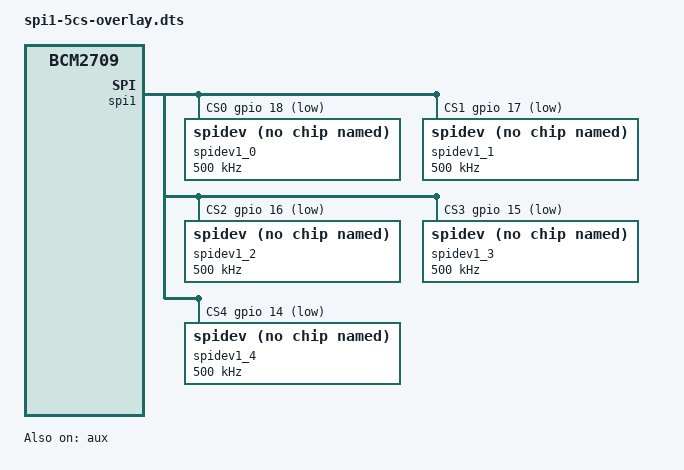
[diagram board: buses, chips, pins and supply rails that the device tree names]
/dts-v1/;
/plugin/;


/ {
	compatible = "brcm,bcm2835", "brcm,bcm2708", "brcm,bcm2709";

	fragment@0 {
		target = <&gpio>;
		__overlay__ {
			spi1_pins: spi1_pins {
				brcm,pins = <19 20 21>;
				brcm,function = <3>; /* alt4 */
			};

			spi1_cs_pins: spi1_cs_pins {
				brcm,pins = <18 17 16 15 14 13>;
				brcm,function = <1>; /* output */
			};
		};
	};

	fragment@1 {
		target = <&spi1>;
		frag1: __overlay__ {
			/* needed to avoid dtc warning */
			#address-cells = <1>;
			#size-cells = <0>;
			pinctrl-names = "default";
			pinctrl-0 = <&spi1_pins &spi1_cs_pins>;
			cs-gpios = <&gpio 18 1>, <&gpio 17 1>, <&gpio 16 1>, <&gpio 15 1>, <&gpio 14 1>, <&gpio 13 1>;
			status = "okay";

			spidev1_0: spidev@0 {
				compatible = "spidev";
				reg = <0>;      /* CE0 */
				#address-cells = <1>;
				#size-cells = <0>;
				spi-max-frequency = <500000>;
				status = "okay";
			};

			spidev1_1: spidev@1 {
				compatible = "spidev";
				reg = <1>;      /* CE1 */
				#address-cells = <1>;
				#size-cells = <0>;
				spi-max-frequency = <500000>;
				status = "okay";
			};

			spidev1_2: spidev@2 {
				compatible = "spidev";
				reg = <2>;      /* CE2 */
				#address-cells = <1>;
				#size-cells = <0>;
				spi-max-frequency = <500000>;
				status = "okay";
			};
			
			spidev1_3: spidev@3 {
				compatible = "spidev";
				reg = <3>;      /* CE3 */
				#address-cells = <1>;
				#size-cells = <0>;
				spi-max-frequency = <500000>;
				status = "okay";
			};

			spidev1_4: spidev@4 {
				compatible = "spidev";
				reg = <4>;      /* CE4 */
				#address-cells = <1>;
				#size-cells = <0>;
				spi-max-frequency = <500000>;
				status = "okay";
			};
		};
	};

	fragment@2 {
		target = <&aux>;
		__overlay__ {
			status = "okay";
		};
	};

	__overrides__ {
		cs0_pin  = <&spi1_cs_pins>,"brcm,pins:0",
			   <&frag1>,"cs-gpios:4";
		cs1_pin  = <&spi1_cs_pins>,"brcm,pins:4",
			   <&frag1>,"cs-gpios:16";
		cs2_pin  = <&spi1_cs_pins>,"brcm,pins:8",
			   <&frag1>,"cs-gpios:28";
		cs3_pin  = <&spi1_cs_pins>,"brcm,pins:12",
			   <&frag1>,"cs-gpios:40";
		cs4_pin  = <&spi1_cs_pins>,"brcm,pins:16",
			   <&frag1>,"cs-gpios:52";
		cs0_spidev = <&spidev1_0>,"status";
		cs1_spidev = <&spidev1_1>,"status";
		cs2_spidev = <&spidev1_2>,"status";
		cs3_spidev = <&spidev1_3>,"status";
		cs4_spidev = <&spidev1_4>,"status";
	};
};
